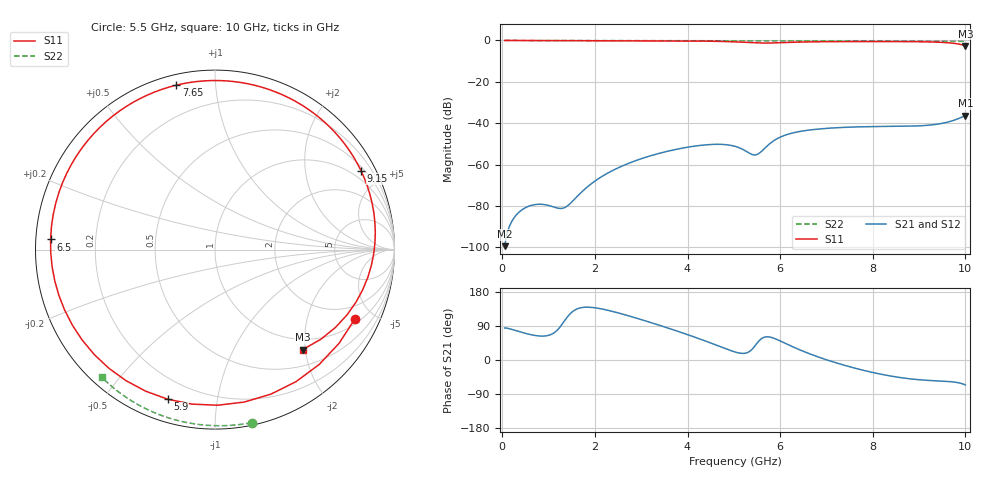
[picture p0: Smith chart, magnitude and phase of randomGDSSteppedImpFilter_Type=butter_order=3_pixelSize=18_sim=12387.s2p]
! freq	dB(S11)	phase(S11)	dB(S12)	phase(S12)
!  dB(S21)	phase(S21)	dB(S22)	phase(S22)
!S-par simulation data
#  GHz  S  DB  R 50
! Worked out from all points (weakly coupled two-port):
!   200 points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, 50 MHz to 10 GHz, reference 50 ohm
!   highest |S21| = -36.30 dB at 10 GHz (marker M1); lowest = -99.4 dB at 50 MHz (marker M2)
!   lowest |S11| = -2.6 dB at 10 GHz (marker M3), VSWR 6.72, Z = 39.4 - j97.4 ohm
!   |S11| at or under -10 dB: nowhere
!   |S22| runs from -0.4 to 0.0 dB; largest |S21 - S12| = 0
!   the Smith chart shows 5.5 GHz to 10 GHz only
!   S11 on the Smith chart (normalised r, x): 5.5 GHz: 1.22, -3.89; 5.9 GHz: 0.10, -0.73; 6.5 GHz: 0.04, +0.03; 7.65 GHz: 0.05, +0.79; 9.15 GHz: 0.64, +3.86; 10 GHz: 0.79, -1.95
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0.05  -0.00 -3.5  -99.44 84.4  -99.44 84.4  -0.00 -0.8
0.9  -0.08 -61.0  -79.31 63.1  -79.31 63.1  -0.02 -13.6
1.4  -0.10 -90.9  -80.09 112.7  -80.09 112.7  -0.03 -21.1
1.75  -0.12 -110.0  -72.51 138.9  -72.51 138.9  -0.03 -26.2
2.6  -0.15 -151.5  -60.58 121.0  -60.58 121.0  -0.05 -38.6
3.4  -0.19 171.8  -54.50 91.4  -54.50 91.4  -0.07 -49.9
4.3  -0.31 123.2  -50.67 54.0  -50.67 54.0  -0.09 -62.3
4.75  -0.48 87.6  -50.24 33.3  -50.24 33.3  -0.10 -68.3
5.05  -0.71 53.2  -51.34 20.3  -51.34 20.3  -0.11 -72.3
5.3  -0.99 13.3  -54.02 19.8  -54.02 19.8  -0.12 -75.5
5.5  -1.21 -26.5  -55.14 44.4  -55.14 44.4  -0.13 -78.1
5.7  -1.28 -68.9  -51.39 61.2  -51.39 61.2  -0.13 -80.6
5.9  -1.17 -107.5  -47.94 55.8  -47.94 55.8  -0.14 -83.2
6.2  -0.92 -152.1  -45.12 38.9  -45.12 38.9  -0.16 -86.9
6.5  -0.74 176.5  -43.71 22.9  -43.71 22.9  -0.17 -90.7
6.7  -0.67 160.0  -43.12 13.4  -43.12 13.4  -0.18 -93.1
7.15  -0.57 130.3  -42.27 -5.3  -42.27 -5.3  -0.20 -98.6
7.65  -0.53 103.2  -41.79 -22.7  -41.79 -22.7  -0.24 -104.5
8.35  -0.53 69.0  -41.57 -41.5  -41.57 -41.5  -0.29 -112.7
9.15  -0.68 28.3  -41.07 -53.4  -41.07 -53.4  -0.36 -121.9
9.65  -1.15 -5.6  -39.27 -56.8  -39.27 -56.8  -0.41 -127.6
10  -2.60 -48.7  -36.30 -65.7  -36.30 -65.7  -0.45 -131.5
